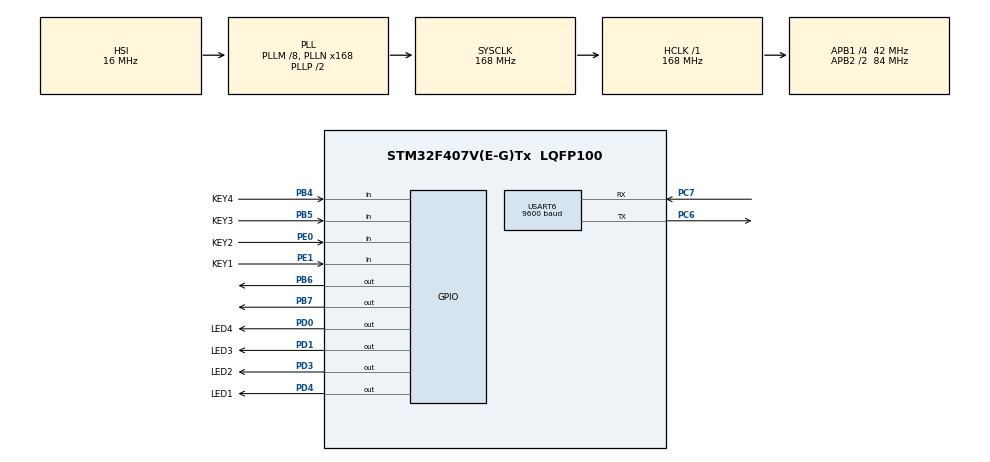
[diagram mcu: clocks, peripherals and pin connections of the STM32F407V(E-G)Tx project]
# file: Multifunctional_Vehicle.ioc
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Mcu.Family=STM32F4
Mcu.Name=STM32F407V(E-G)Tx
Mcu.Package=LQFP100
NVIC.PriorityGroup=NVIC_PRIORITYGROUP_4
NVIC.USART6_IRQn=true\:0\:0\:false\:false\:true\:true\:true\:true
PA13.Mode=Serial_Wire
PA13.Signal=SYS_JTMS-SWDIO
PA14.Mode=Serial_Wire
PA14.Signal=SYS_JTCK-SWCLK
PB4.GPIO_Label=KEY4
PB4.GPIO_PuPd=GPIO_PULLUP
PB4.Signal=GPIO_Input
PB5.GPIO_Label=KEY3
PB5.GPIO_PuPd=GPIO_PULLUP
PB5.Signal=GPIO_Input
PB6.GPIO_ModeDefaultOutputPP=GPIO_MODE_OUTPUT_OD
PB6.GPIO_PuPd=GPIO_NOPULL
PB6.GPIO_Speed=GPIO_SPEED_FREQ_VERY_HIGH
PB6.Signal=GPIO_Output
PB7.GPIO_ModeDefaultOutputPP=GPIO_MODE_OUTPUT_OD
PB7.GPIO_PuPd=GPIO_NOPULL
PB7.GPIO_Speed=GPIO_SPEED_FREQ_VERY_HIGH
PB7.Signal=GPIO_Output
PC14-OSC32_IN.Mode=LSE-External-Oscillator
PC14-OSC32_IN.Signal=RCC_OSC32_IN
PC15-OSC32_OUT.Mode=LSE-External-Oscillator
PC15-OSC32_OUT.Signal=RCC_OSC32_OUT
PC6.Mode=Asynchronous
PC6.Signal=USART6_TX
PC7.Mode=Asynchronous
PC7.Signal=USART6_RX
PD0.GPIO_Label=LED4
PD0.Signal=GPIO_Output
PD1.GPIO_Label=LED3
PD1.Signal=GPIO_Output
PD3.GPIO_Label=LED2
PD3.Signal=GPIO_Output
PD4.GPIO_Label=LED1
PD4.Signal=GPIO_Output
PE0.GPIO_Label=KEY2
PE0.GPIO_PuPd=GPIO_PULLUP
PE0.Signal=GPIO_Input
PE1.GPIO_Label=KEY1
PE1.GPIO_PuPd=GPIO_PULLUP
PE1.Signal=GPIO_Input
PH0-OSC_IN.Mode=HSE-External-Oscillator
PH0-OSC_IN.Signal=RCC_OSC_IN
PH1-OSC_OUT.Mode=HSE-External-Oscillator
PH1-OSC_OUT.Signal=RCC_OSC_OUT
ProjectManager.HeapSize=0x200
ProjectManager.StackSize=0x400
ProjectManager.TargetToolchain=MDK-ARM V5.32
RCC.48MHZClocksFreq_Value=84000000
RCC.AHBFreq_Value=168000000
RCC.APB1CLKDivider=RCC_HCLK_DIV4
RCC.APB1Freq_Value=42000000
RCC.APB1TimFreq_Value=84000000
RCC.APB2CLKDivider=RCC_HCLK_DIV2
RCC.APB2Freq_Value=84000000
RCC.APB2TimFreq_Value=168000000
RCC.CortexFreq_Value=168000000
RCC.HCLKFreq_Value=168000000
RCC.HSE_VALUE=8000000
RCC.HSI_VALUE=16000000
RCC.PLLM=8
RCC.PLLN=168
RCC.SYSCLKFreq_VALUE=168000000
RCC.SYSCLKSource=RCC_SYSCLKSOURCE_PLLCLK
RCC.VCOOutputFreq_Value=336000000
USART6.BaudRate=9600
USART6.VirtualMode=VM_ASYNC
board=custom

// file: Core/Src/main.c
/* USER CODE BEGIN Header */
/**
  ******************************************************************************
  * @file           : main.c
  * @brief          : Main program body
  ******************************************************************************
  * @attention
  *
  * Copyright (c) 2026 STMicroelectronics.
  * All rights reserved.
  *
  * This software is licensed under terms that can be found in the LICENSE file
  * in the root directory of this software component.
  * If no LICENSE file comes with this software, it is provided AS-IS.
  *
  ******************************************************************************
  */
/* USER CODE END Header */
#include "main.h"
#include "usart.h"
#include "gpio.h"

/* USER CODE BEGIN Includes */
#include "LED.h"
#include "OLED.h"
#include <string.h>
/* USER CODE END Includes */

/* USER CODE BEGIN PD */
#define MAX_VALUES 16
#define BUFFER_SIZE 64

/* PS4 button enumeration (same as before, kept for array indexing) */
enum {
    BTN_R2 = 0,
    BTN_L2,
    BTN_A,
    BTN_B,
    BTN_X,
    BTN_Y,
    BTN_R1,
    BTN_L1,
    BTN_LEFT,
    BTN_UP,
    BTN_RIGHT,
    BTN_DOWN,
    BTN_NUM
};

/* LED pattern mapping for each PS4 button (4-bit: LED4 LED3 LED2 LED1) */
#define LED_PAT_R2      0x01    /* 0001 */
#define LED_PAT_L2      0x02    /* 0010 */
#define LED_PAT_A       0x03    /* 0011 */
#define LED_PAT_B       0x04    /* 0100 */
#define LED_PAT_X       0x05    /* 0101 */
#define LED_PAT_Y       0x06    /* 0110 */
#define LED_PAT_R1      0x07    /* 0111 */
#define LED_PAT_L1      0x08    /* 1000 */
#define LED_PAT_LEFT    0x09    /* 1001 */
#define LED_PAT_UP      0x0A    /* 1010 */
#define LED_PAT_RIGHT   0x0B    /* 1011 */
#define LED_PAT_DOWN    0x0C    /* 1100 */

/* PS4 button names for OLED display */
static const char *ps4_btn_names[BTN_NUM] = {
    "R2", "L2", "A", "B", "X", "Y",
    "R1", "L1", "LEFT", "UP", "RIGHT", "DOWN"
};

static const uint8_t ps4_led_pattern[BTN_NUM] = {
    LED_PAT_R2, LED_PAT_L2, LED_PAT_A, LED_PAT_B,
    LED_PAT_X, LED_PAT_Y, LED_PAT_R1, LED_PAT_L1,
    LED_PAT_LEFT, LED_PAT_UP, LED_PAT_RIGHT, LED_PAT_DOWN
};

/* USER CODE END PD */

/* USER CODE BEGIN PV */
uint32_t led_on_tick = 0;       /* SysTick when LEDs were turned on */
uint8_t  led_active = 0;        /* Flag: LEDs are currently showing a button press */

/* UART receive variables */
uint8_t rx_data;
uint8_t rx_buffer[64];
int rx_index = 0;
int rx_complete = 0;
int value[MAX_VALUES] = {0};

/* Button state tracking (replaces PS4_Arm module) */
static uint8_t btn_prev_state[BTN_NUM];   /* Previous state of each button */
static uint8_t r2_hyst_state = 0;         /* Hysteresis state for R2 */
static uint8_t l2_hyst_state = 0;         /* Hysteresis state for L2 */
/* USER CODE END PV */

void SystemClock_Config(void);
/* USER CODE BEGIN PFP */
static void SetLEDs(uint8_t pattern);
/* USER CODE END PFP */

/* USER CODE BEGIN 0 */

/**
 * @brief  Set all four LEDs according to a 4-bit pattern.
 * @param  pattern: bit0 -> LED1, bit1 -> LED2, bit2 -> LED3, bit3 -> LED4
 */
static void SetLEDs(uint8_t pattern)
{
    (pattern & 0x01) ? LED1_ON() : LED1_OFF();
    (pattern & 0x02) ? LED2_ON() : LED2_OFF();
    (pattern & 0x04) ? LED3_ON() : LED3_OFF();
    (pattern & 0x08) ? LED4_ON() : LED4_OFF();
}

/**
  * @brief  UART receive complete callback (USART6)
  */
void HAL_UART_RxCpltCallback(UART_HandleTypeDef *huart)
{
    if (huart->Instance == USART6) {
        if (rx_data == 'c') {
            rx_index = 0;
            rx_complete = 0;
        }
        if (rx_index < 63) {
            rx_buffer[rx_index++] = rx_data;
        }
        if (rx_data == '\n') {
            rx_complete = 1;
        }
        HAL_UART_Receive_IT(&huart6, &rx_data, 1);
    }
}

/**
  * @brief  Parse the received string into the value[] array.
  */
void get_Data(void)
{
    int value_in[MAX_VALUES] = {0};
    int start = 0;
    int times = 0;
    int neg = 0;
    int erro = 0;

    if (rx_complete == 0) {
        return;
    }

    for (int i = 0; i < rx_index; i++) {
        char current = rx_buffer[i];

        if (current == 'c') {
            if (start == 1) {
                erro = 1;
                break;
            }
            start = 1;
            continue;
        }

        if (start == 1) {
            if (current == '\n') {
                break;
            }
            if (current == ',') {
                if (times < MAX_VALUES) {
                    if (neg) value_in[times] = -value_in[times];
                    times++;
                    neg = 0;
                }
            } else if (current == '-') {
                neg = 1;
            } else if (current >= '0' && current <= '9') {
                if (times < MAX_VALUES) {
                    value_in[times] = value_in[times] * 10 + (current - '0');
                }
            }
        }
    }

    if (erro != 1 && times == MAX_VALUES - 1) {
        for (int i = 0; i < MAX_VALUES; i++) {
            value[i] = value_in[i];
        }
    }

    rx_complete = 0;
    rx_index = 0;
}

/* USER CODE END 0 */

int main(void)
{

  /* MCU Configuration--------------------------------------------------------*/

  /* Reset of all peripherals, Initializes the Flash interface and the Systick. */
  HAL_Init();

  /* Configure the system clock */
  SystemClock_Config();

  /* Initialize all configured peripherals */
  MX_GPIO_Init();
  MX_USART6_UART_Init();

  /* USER CODE BEGIN 2 */
  OLED_Init();
  OLED_ShowString(0, 0, "PS4 Control", OLED_6X8);
  OLED_Update();

  /* Clear button state arrays */
  memset(btn_prev_state, 0, sizeof(btn_prev_state));
  r2_hyst_state = 0;
  l2_hyst_state = 0;

  /* Start UART6 interrupt reception */
  HAL_UART_Receive_IT(&huart6, &rx_data, 1);
  /* USER CODE END 2 */

  /* Infinite loop */
  /* USER CODE BEGIN WHILE */
  while (1)
  {
    /* 1. Receive and parse the latest PS4 data from UART */
    get_Data();

    /* 2. Process each button directly using value[] array */
    for (uint8_t btn = 0; btn < BTN_NUM; btn++) {
        uint8_t curr_state = 0;

        /* Determine current state based on button type */
        if (btn == BTN_R2) {
            if (value[4] > 75) {
                curr_state = 1;
                r2_hyst_state = 1;
            } else if (value[4] < 25) {
                curr_state = 0;
                r2_hyst_state = 0;
            } else {
                curr_state = r2_hyst_state;  /* Hysteresis zone */
            }
        } else if (btn == BTN_L2) {
            if (value[5] > 75) {
                curr_state = 1;
                l2_hyst_state = 1;
            } else if (value[5] < 25) {
                curr_state = 0;
                l2_hyst_state = 0;
            } else {
                curr_state = l2_hyst_state;
            }
        } else {
            /* Digital buttons: map enum to value index */
            uint8_t idx;
            if      (btn == BTN_A)     idx = 6;
            else if (btn == BTN_B)     idx = 7;
            else if (btn == BTN_X)     idx = 8;
            else if (btn == BTN_Y)     idx = 9;
            else if (btn == BTN_R1)    idx = 10;
            else if (btn == BTN_L1)    idx = 11;
            else if (btn == BTN_LEFT)  idx = 12;
            else if (btn == BTN_UP)    idx = 13;
            else if (btn == BTN_RIGHT) idx = 14;
            else if (btn == BTN_DOWN)  idx = 15;
            else continue;  /* Should not happen */

            curr_state = (value[idx] != 0) ? 1 : 0;
        }

        /* Edge detection: rising edge -> button pressed */
        if (curr_state == 1 && btn_prev_state[btn] == 0) {
            /* Set LEDs according to the button's pattern */
            SetLEDs(ps4_led_pattern[btn]);

            /* Display button name on OLED */
            OLED_ShowString(0, 16, "            ", OLED_6X8);   /* Clear line */
            OLED_ShowString(0, 16, "PS4:", OLED_6X8);
            OLED_ShowString(24, 16, (char *)ps4_btn_names[btn], OLED_6X8);
            OLED_Update();

            /* Start 200 ms timer for automatic LED off */
            led_active = 1;
            led_on_tick = HAL_GetTick();

            /* Only one action per loop, break after first detected press */
            btn_prev_state[btn] = curr_state;  /* Update state before breaking */
            break;
        }

        /* Update previous state for next iteration */
        btn_prev_state[btn] = curr_state;
    }

    /* 3. Auto-off LEDs after 200 ms */
    if (led_active && (HAL_GetTick() - led_on_tick >= 200)) {
        SetLEDs(0x00);          /* All LEDs off */
        led_active = 0;         /* Clear active flag */
    }

    /* 4. Optional: display raw values for debugging */
    OLED_Printf(0, 24, OLED_6X8, "%d,%d,%d,%d", value[0], value[1], value[2], value[3]);
    OLED_Printf(0, 32, OLED_6X8, "%d,%d,%d,%d", value[4], value[5], value[6], value[7]);
    OLED_Printf(0, 40, OLED_6X8, "%d,%d,%d,%d", value[8], value[9], value[10], value[11]);
    OLED_Printf(0, 48, OLED_6X8, "%d,%d,%d,%d", value[12], value[13], value[14], value[15]);
    OLED_Update();

    /* USER CODE END WHILE */

  }
}

void SystemClock_Config(void)
{
  RCC_OscInitTypeDef RCC_OscInitStruct = {0};
  RCC_ClkInitTypeDef RCC_ClkInitStruct = {0};

  /** Configure the main internal regulator output voltage
  */
  __HAL_RCC_PWR_CLK_ENABLE();
  __HAL_PWR_VOLTAGESCALING_CONFIG(PWR_REGULATOR_VOLTAGE_SCALE1);

  /** Initializes the RCC Oscillators according to the specified parameters
  * in the RCC_OscInitTypeDef structure.
  */
  RCC_OscInitStruct.OscillatorType = RCC_OSCILLATORTYPE_HSI;
  RCC_OscInitStruct.HSIState = RCC_HSI_ON;
  RCC_OscInitStruct.HSICalibrationValue = RCC_HSICALIBRATION_DEFAULT;
  RCC_OscInitStruct.PLL.PLLState = RCC_PLL_ON;
  RCC_OscInitStruct.PLL.PLLSource = RCC_PLLSOURCE_HSI;
  RCC_OscInitStruct.PLL.PLLM = 8;
  RCC_OscInitStruct.PLL.PLLN = 168;
  RCC_OscInitStruct.PLL.PLLP = RCC_PLLP_DIV2;
  RCC_OscInitStruct.PLL.PLLQ = 4;
  if (HAL_RCC_OscConfig(&RCC_OscInitStruct) != HAL_OK)
  {
    Error_Handler();
  }

  /** Initializes the CPU, AHB and APB buses clocks
  */
  RCC_ClkInitStruct.ClockType = RCC_CLOCKTYPE_HCLK|RCC_CLOCKTYPE_SYSCLK
                              |RCC_CLOCKTYPE_PCLK1|RCC_CLOCKTYPE_PCLK2;
  RCC_ClkInitStruct.SYSCLKSource = RCC_SYSCLKSOURCE_PLLCLK;
  RCC_ClkInitStruct.AHBCLKDivider = RCC_SYSCLK_DIV1;
  RCC_ClkInitStruct.APB1CLKDivider = RCC_HCLK_DIV4;
  RCC_ClkInitStruct.APB2CLKDivider = RCC_HCLK_DIV2;

  if (HAL_RCC_ClockConfig(&RCC_ClkInitStruct, FLASH_LATENCY_5) != HAL_OK)
  {
    Error_Handler();
  }
}

void Error_Handler(void)
{
  __disable_irq();
  while (1)
  {
  }
}
